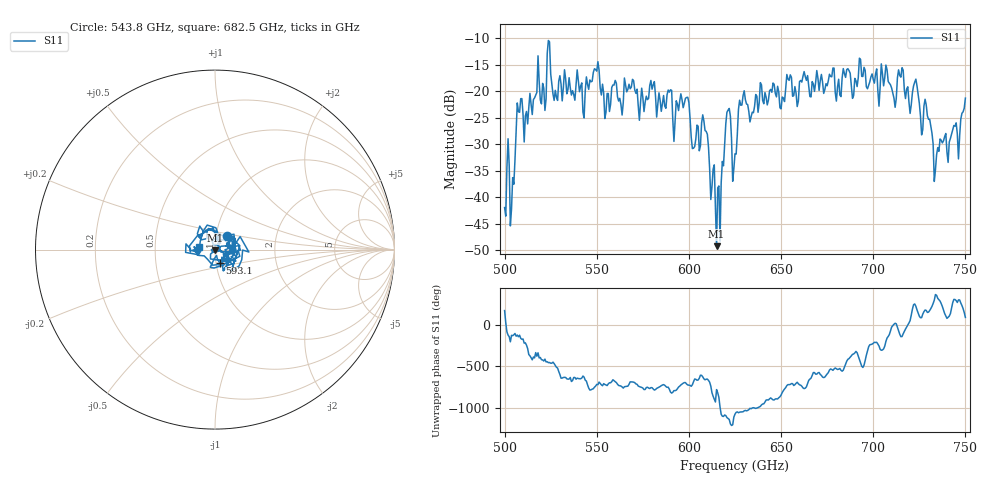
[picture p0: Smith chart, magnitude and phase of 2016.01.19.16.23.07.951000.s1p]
!Created with skrf (http://scikit-rf.org).
# GHz S RI R 50.0
!freq ReS11 ImS11
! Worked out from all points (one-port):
!   401 points, 500 GHz to 750 GHz, reference 50 ohm
!   lowest |S11| = -49.2 dB at 615 GHz (marker M1), VSWR 1.01, Z = 50.2 - j0.309 ohm
!   |S11| at or under -10 dB: start of sweep to end of sweep
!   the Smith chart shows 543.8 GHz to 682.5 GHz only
!   S11 on the Smith chart (normalised r, x): 543.8 GHz: 1.12, +0.18; 593.1 GHz: 1.04, -0.16; 682.5 GHz: 0.84, +0.03
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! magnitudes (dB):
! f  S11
! 500 GHz  -41.9
! 504.4 GHz  -36.3
! 508.1 GHz  -24.0
! 521.2 GHz  -19.4
! 524.4 GHz  -10.7
! 527.5 GHz  -19.9
! 531.2 GHz  -21.9
! 543.8 GHz  -19.9
! 550 GHz  -16.2
! 562.5 GHz  -21.4
! 580 GHz  -19.6
! 593.1 GHz  -21.8
! 593.8 GHz  -22.4
! 598.8 GHz  -21.2
! 602.5 GHz  -30.8
! 608.8 GHz  -27.4
! 615 GHz  -49.2
! 616.2 GHz  -37.9
! 621.2 GHz  -23.6
! 625 GHz  -31.8
! 628.8 GHz  -22.6
! 656.2 GHz  -21.0
! 682.5 GHz  -21.0
! 687.5 GHz  -16.7
! 718.8 GHz  -19.2
! 723.1 GHz  -17.8
! 734.4 GHz  -32.0
! 750 GHz  -21.3
